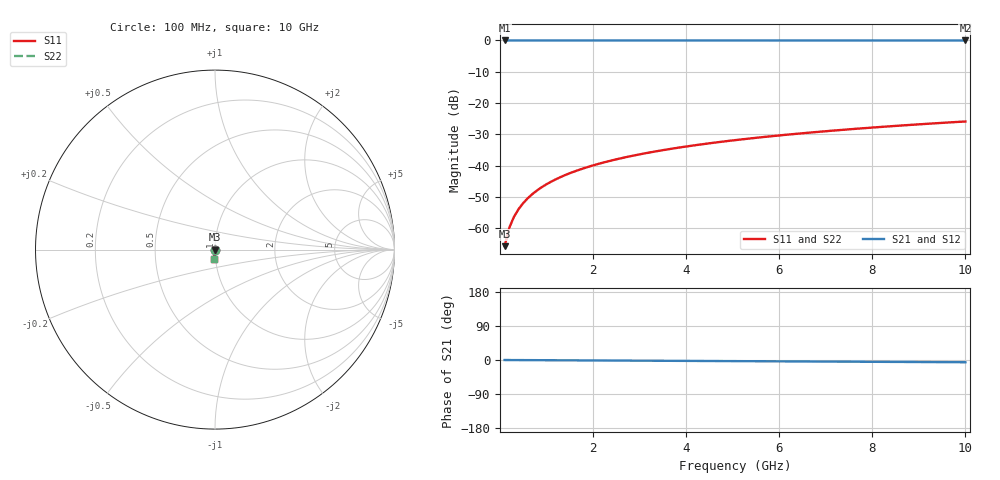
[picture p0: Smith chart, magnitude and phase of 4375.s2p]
# Hz S RI R 50.00
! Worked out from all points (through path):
!   100 points, 100 MHz to 10 GHz, reference 50 ohm
!   highest |S21| = 0.00 dB at 100 MHz (marker M1); lowest = 0.0 dB at 10 GHz (marker M2)
!   lowest |S11| = -65.8 dB at 100 MHz (marker M3), VSWR 1.00, Z = 50 - j0.0501 ohm
!   |S11| at or under -10 dB: start of sweep to end of sweep
!   |S22| runs from -65.8 to -25.9 dB; largest |S21 - S12| = 0
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1e8  0.000109 -0.000501  0.9999 -0.00103  0.9999 -0.00103  0.000109 -0.000501
2e8  0.000108 -0.001  0.9999 -0.00205  0.9999 -0.00205  0.000108 -0.001
3e8  0.000105 -0.0015  0.9999 -0.00308  0.9999 -0.00308  0.000105 -0.0015
4e8  0.000101 -0.002  0.9999 -0.00411  0.9999 -0.00411  0.000101 -0.002
5e8  9.61e-05 -0.00251  0.9999 -0.00514  0.9999 -0.00514  9.61e-05 -0.00251
6e8  9.01e-05 -0.00301  0.9999 -0.00616  0.9999 -0.00616  9.01e-05 -0.00301
7e8  8.29e-05 -0.00351  0.9998 -0.00719  0.9998 -0.00719  8.29e-05 -0.00351
8e8  7.48e-05 -0.00401  0.9998 -0.00822  0.9998 -0.00822  7.48e-05 -0.00401
9e8  6.56e-05 -0.00451  0.9998 -0.00924  0.9998 -0.00924  6.56e-05 -0.00451
1.1e9  4.4e-05 -0.00551  0.9998 -0.0113  0.9998 -0.0113  4.4e-05 -0.00551
1.4e9  3.77e-06 -0.00702  0.9997 -0.0144  0.9997 -0.0144  3.77e-06 -0.00702
1.8e9  -6.44e-05 -0.00903  0.9997 -0.0185  0.9997 -0.0185  -6.44e-05 -0.00903
2.1e9  -0.000127 -0.0105  0.9996 -0.0216  0.9996 -0.0216  -0.000127 -0.0105
2.5e9  -0.000224 -0.0125  0.9995 -0.0257  0.9995 -0.0257  -0.000224 -0.0125
2.9e9  -0.000338 -0.0146  0.9993 -0.0298  0.9993 -0.0298  -0.000338 -0.0146
3.4e9  -0.000505 -0.0171  0.9991 -0.035  0.9991 -0.035  -0.000505 -0.0171
4.2e9  -0.000826 -0.0211  0.9987 -0.0433  0.9987 -0.0433  -0.000826 -0.0211
5.1e9  -0.00127 -0.0257  0.9981 -0.0526  0.9981 -0.0526  -0.00127 -0.0257
5.9e9  -0.00173 -0.0297  0.9975 -0.0609  0.9975 -0.0609  -0.00173 -0.0297
6.7e9  -0.00227 -0.0337  0.9969 -0.0692  0.9969 -0.0692  -0.00227 -0.0337
8.4e9  -0.00363 -0.0423  0.9951 -0.0868  0.9951 -0.0868  -0.00363 -0.0423
1e10  -0.00519 -0.0504  0.9931 -0.1035  0.9931 -0.1035  -0.00519 -0.0504
